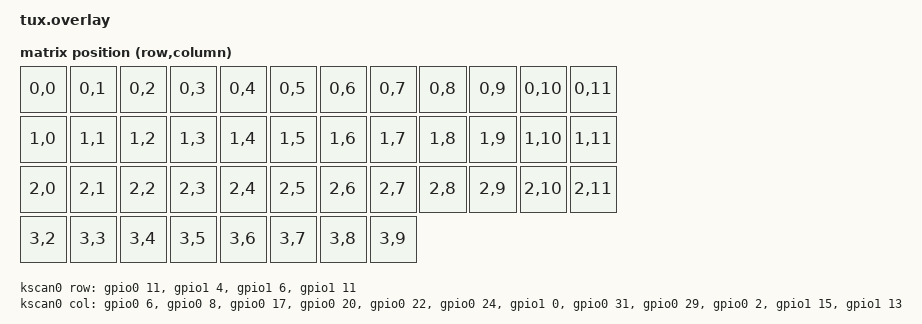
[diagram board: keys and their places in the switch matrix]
/*
 * Copyright (c) 2026
 * SPDX-License-Identifier: MIT
 */

#include <dt-bindings/zmk/matrix_transform.h>

/ {
    chosen {
        zmk,kscan = &kscan0;
        zmk,matrix_transform = &default_transform;
        zephyr,display = &ssd1306;
    };

    default_transform: keymap_transform_0 {
        compatible = "zmk,matrix-transform";
        columns = <12>;
        rows = <4>;

        /*
         * 44 keys: rows 0–2 are full 12-column, row 3 (bottom) has 8 keys
         * occupying columns 2–9 (center-aligned, 2 absent on each side).
         * Adjust RC(3,x) entries if your bottom row is positioned differently.
         */
        map = <
            RC(0,0)  RC(0,1)  RC(0,2)  RC(0,3)  RC(0,4)  RC(0,5)  RC(0,6)  RC(0,7)  RC(0,8)  RC(0,9)  RC(0,10) RC(0,11)
            RC(1,0)  RC(1,1)  RC(1,2)  RC(1,3)  RC(1,4)  RC(1,5)  RC(1,6)  RC(1,7)  RC(1,8)  RC(1,9)  RC(1,10) RC(1,11)
            RC(2,0)  RC(2,1)  RC(2,2)  RC(2,3)  RC(2,4)  RC(2,5)  RC(2,6)  RC(2,7)  RC(2,8)  RC(2,9)  RC(2,10) RC(2,11)
            RC(3,2)  RC(3,3)  RC(3,4)  RC(3,5)  RC(3,6)  RC(3,7)  RC(3,8)  RC(3,9)
        >;
    };

    /*
     * Soft-off wake source: the P key (row 0 = P0.11, col 10 = P1.15).
     * P is also the &soft_off trigger on the SYS layer, so the same key
     * powers the keyboard down and back up again.  During soft-off the
     * kscan stops, but col 10 is held HIGH by `extra-gpios` so a close on
     * (row 0, col 10) fires the GPIO interrupt on row 0 and wakes the MCU.
     */
    keys {
        compatible = "gpio-keys";
        soft_off_wake_key: soft_off_wake_key {
            gpios = <&gpio0 11 (GPIO_ACTIVE_HIGH | GPIO_PULL_DOWN)>;
        };
    };

    wakeup_scan: wakeup_scan {
        compatible = "zmk,gpio-key-wakeup-trigger";
        trigger = <&soft_off_wake_key>;
        wakeup-source;
        extra-gpios = <&gpio1 15 GPIO_ACTIVE_HIGH>;
    };

    soft_off_wakers {
        compatible = "zmk,soft-off-wakeup-sources";
        wakeup-sources = <&wakeup_scan>;
    };

    kscan0: kscan {
        compatible = "zmk,kscan-gpio-matrix";
        label = "KSCAN";
        diode-direction = "col2row";
        wakeup-source;

        col-gpios
            = <&gpio0 6  GPIO_ACTIVE_HIGH>   /* Col  0 - P0.06 */
            , <&gpio0 8  GPIO_ACTIVE_HIGH>   /* Col  1 - P0.08 */
            , <&gpio0 17 GPIO_ACTIVE_HIGH>   /* Col  2 - P0.17 */
            , <&gpio0 20 GPIO_ACTIVE_HIGH>   /* Col  3 - P0.20 */
            , <&gpio0 22 GPIO_ACTIVE_HIGH>   /* Col  4 - P0.22 */
            , <&gpio0 24 GPIO_ACTIVE_HIGH>   /* Col  5 - P0.24 */
            , <&gpio1 0  GPIO_ACTIVE_HIGH>   /* Col  6 - P1.00 */
            , <&gpio0 31 GPIO_ACTIVE_HIGH>   /* Col  7 - P0.31 */
            , <&gpio0 29 GPIO_ACTIVE_HIGH>   /* Col  8 - P0.29 */
            , <&gpio0 2  GPIO_ACTIVE_HIGH>   /* Col  9 - P0.02 */
            , <&gpio1 15 GPIO_ACTIVE_HIGH>   /* Col 10 - P1.15 */
            , <&gpio1 13 GPIO_ACTIVE_HIGH>   /* Col 11 - P1.13 */
            ;

        row-gpios
            = <&gpio0 11 (GPIO_ACTIVE_HIGH | GPIO_PULL_DOWN)>   /* Row 0 - P0.11 */
            , <&gpio1 4  (GPIO_ACTIVE_HIGH | GPIO_PULL_DOWN)>   /* Row 1 - P1.04 */
            , <&gpio1 6  (GPIO_ACTIVE_HIGH | GPIO_PULL_DOWN)>   /* Row 2 - P1.06 */
            , <&gpio1 11 (GPIO_ACTIVE_HIGH | GPIO_PULL_DOWN)>   /* Row 3 - P1.11 */
            ;
    };
};

/*
 * OLED: SDA=P0.10, SCL=P0.09 — non-default I2C pins.
 * P0.17 and P0.20 (the nice!nano defaults) are matrix columns on this board,
 * so a pinctrl override is required.
 */
&pinctrl {
    i2c0_default: i2c0_default {
        group1 {
            psels = <NRF_PSEL(TWIM_SDA, 0, 10)>,
                    <NRF_PSEL(TWIM_SCL, 0, 9)>;
        };
    };
    i2c0_sleep: i2c0_sleep {
        group1 {
            psels = <NRF_PSEL(TWIM_SDA, 0, 10)>,
                    <NRF_PSEL(TWIM_SCL, 0, 9)>;
            low-power-enable;
        };
    };
};

&i2c0 {
    status = "okay";
    pinctrl-0 = <&i2c0_default>;
    pinctrl-1 = <&i2c0_sleep>;
    pinctrl-names = "default", "sleep";

    ssd1306: ssd1306@3c {
        compatible = "solomon,ssd1306fb";
        reg = <0x3c>;
        width = <128>;
        height = <32>;
        segment-offset = <0>;
        page-offset = <0>;
        display-offset = <0>;
        multiplex-ratio = <31>;
        prechargep = <0xf1>;
        segment-remap;
        com-invdir;
        com-sequential;
    };
};
